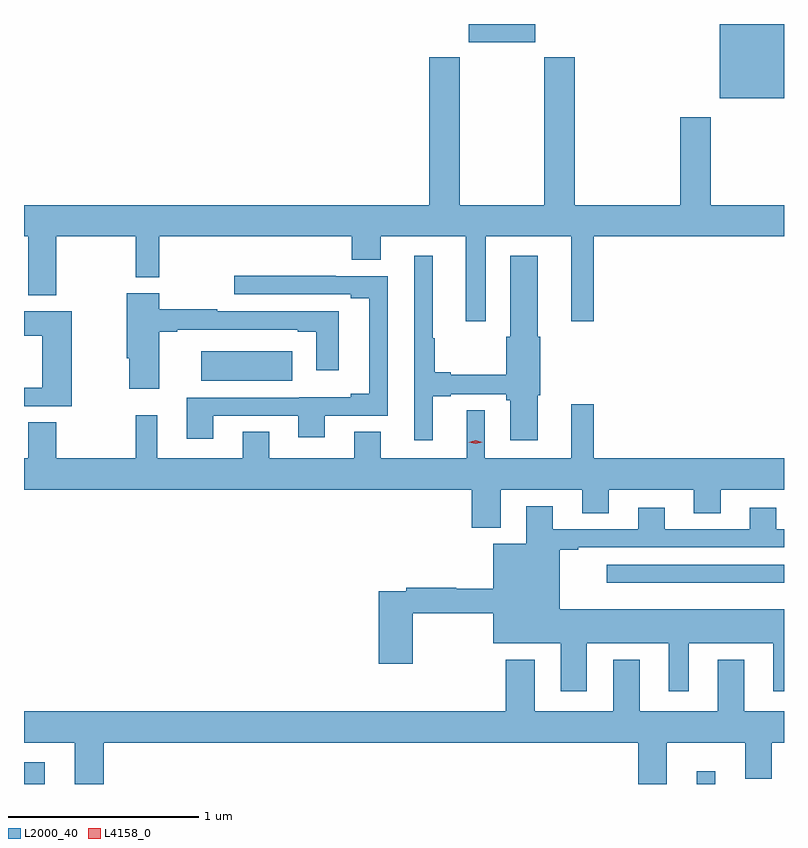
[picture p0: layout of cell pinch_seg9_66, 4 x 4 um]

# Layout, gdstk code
import gdstk
lib = gdstk.Library(unit=1e-6, precision=1e-09)
def R(c, l, rs):  # rectangles x0, y0, x1, y1
    for r in rs: c.add(gdstk.rectangle(r[:2], r[2:], *l))
def P(c, l, *ps):  # polygons
    for p in ps: c.add(gdstk.Polygon(p, *l))
L2000_40 = (2000, 40)
L4158_0 = (4158, 0)

pinch_seg9_66 = lib.new_cell('pinch_seg9_66')
R(pinch_seg9_66, L2000_40, [(900.505,1182.882,900.613,1182.997), (904.046,1182.882,904.144,1182.949), (903.573,1183.94,904.505,1184.037), (901.437,1185.005,901.918,1185.16), (904.166,1186.49,904.505,1186.882), (902.846,1186.787,903.196,1186.882)])
P(pinch_seg9_66, L2000_40, [(902.935,1185.764),(903.386,1185.764),(903.386,1185.318),(903.503,1185.318),(903.503,1185.764),(904.505,1185.764),(904.505,1185.928),(904.119,1185.928),(904.119,1186.39),(903.959,1186.39),(903.959,1185.928),(903.404,1185.928),(903.404,1186.708),(903.244,1186.708),(903.244,1185.928),(902.799,1185.928),(902.799,1186.708),(902.639,1186.708),(902.639,1185.928),(900.505,1185.928),(900.505,1185.764),(900.527,1185.764),(900.527,1185.455),(900.675,1185.455),(900.675,1185.764),(901.093,1185.764),(901.093,1185.55),(901.218,1185.55),(901.218,1185.764),(902.231,1185.764),(902.231,1185.64),(902.383,1185.64),(902.383,1185.764),(902.831,1185.764),(902.831,1185.318),(902.935,1185.318)],
  [(902.657,1184.922),(902.752,1184.922),(902.752,1184.934),(903.043,1184.934),(903.043,1184.901),(903.065,1184.901),(903.065,1184.691),(903.208,1184.691),(903.208,1184.927),(903.221,1184.927),(903.221,1185.237),(903.208,1185.237),(903.208,1185.661),(903.065,1185.661),(903.065,1185.237),(903.043,1185.237),(903.043,1185.035),(902.752,1185.035),(902.752,1185.05),(902.668,1185.05),(902.668,1185.227),(902.656,1185.227),(902.656,1185.661),(902.558,1185.661),(902.558,1184.691),(902.657,1184.691)],
  [(901.501,1184.82),(901.949,1184.82),(901.949,1184.708),(902.089,1184.708),(902.089,1184.82),(902.419,1184.82),(902.419,1185.555),(902.147,1185.555),(902.147,1185.557),(901.611,1185.557),(901.611,1185.459),(902.225,1185.459),(902.225,1185.439),(902.321,1185.439),(902.321,1184.936),(902.225,1184.936),(902.225,1184.917),(901.953,1184.917),(901.953,1184.916),(901.361,1184.916),(901.361,1184.7),(901.501,1184.7)],
  [(901.216,1185.261),(901.312,1185.261),(901.312,1185.273),(901.946,1185.273),(901.946,1185.261),(902.042,1185.261),(902.042,1185.06),(902.161,1185.06),(902.161,1185.369),(901.523,1185.369),(901.523,1185.382),(901.218,1185.382),(901.218,1185.465),(901.045,1185.465),(901.045,1185.123),(901.06,1185.123),(901.06,1184.961),(901.216,1184.961)],
  [(900.756,1185.37),(900.505,1185.37),(900.505,1185.242),(900.602,1185.242),(900.602,1184.967),(900.505,1184.967),(900.505,1184.871),(900.756,1184.871)],
  [(903.013,1184.432),(903.443,1184.432),(903.443,1184.308),(903.583,1184.308),(903.583,1184.432),(904.031,1184.432),(904.031,1184.308),(904.171,1184.308),(904.171,1184.432),(904.505,1184.432),(904.505,1184.596),(903.503,1184.596),(903.503,1184.881),(903.386,1184.881),(903.386,1184.596),(902.931,1184.596),(902.931,1184.848),(902.834,1184.848),(902.834,1184.596),(902.383,1184.596),(902.383,1184.735),(902.243,1184.735),(902.243,1184.596),(901.795,1184.596),(901.795,1184.735),(901.655,1184.735),(901.655,1184.596),(901.207,1184.596),(901.207,1184.824),(901.093,1184.824),(901.093,1184.596),(900.675,1184.596),(900.675,1184.786),(900.527,1184.786),(900.527,1184.596),(900.505,1184.596),(900.505,1184.432),(902.861,1184.432),(902.861,1184.231),(903.013,1184.231)],
  [(903.466,1183.622),(903.899,1183.622),(903.899,1183.371),(904.003,1183.371),(904.003,1183.622),(904.448,1183.622),(904.448,1183.371),(904.505,1183.371),(904.505,1183.801),(903.325,1183.801),(903.325,1184.115),(903.421,1184.115),(903.421,1184.127),(904.505,1184.127),(904.505,1184.223),(904.465,1184.223),(904.465,1184.335),(904.325,1184.335),(904.325,1184.223),(903.877,1184.223),(903.877,1184.335),(903.737,1184.335),(903.737,1184.223),(903.289,1184.223),(903.289,1184.344),(903.149,1184.344),(903.149,1184.146),(902.975,1184.146),(902.975,1183.909),(902.779,1183.909),(902.779,1183.916),(902.518,1183.916),(902.518,1183.896),(902.372,1183.896),(902.372,1183.515),(902.55,1183.515),(902.55,1183.78),(902.975,1183.78),(902.975,1183.622),(903.329,1183.622),(903.329,1183.371),(903.466,1183.371)],
  [(900.926,1183.1),(903.737,1183.1),(903.737,1182.882),(903.889,1182.882),(903.889,1183.1),(904.301,1183.1),(904.301,1182.91),(904.441,1182.91),(904.441,1183.1),(904.505,1183.1),(904.505,1183.264),(904.297,1183.264),(904.297,1183.537),(904.157,1183.537),(904.157,1183.264),(903.745,1183.264),(903.745,1183.537),(903.605,1183.537),(903.605,1183.264),(903.193,1183.264),(903.193,1183.537),(903.041,1183.537),(903.041,1183.264),(900.505,1183.264),(900.505,1183.1),(900.773,1183.1),(900.773,1182.882),(900.926,1182.882)])
P(pinch_seg9_66, L4158_0, [(902.882,1184.672),(902.847,1184.682),(902.847,1184.682),(902.847,1184.682),(902.882,1184.692),(902.918,1184.682),(902.918,1184.682),(902.918,1184.682)])

lib.write_gds('pinch_seg9_66.gds')
